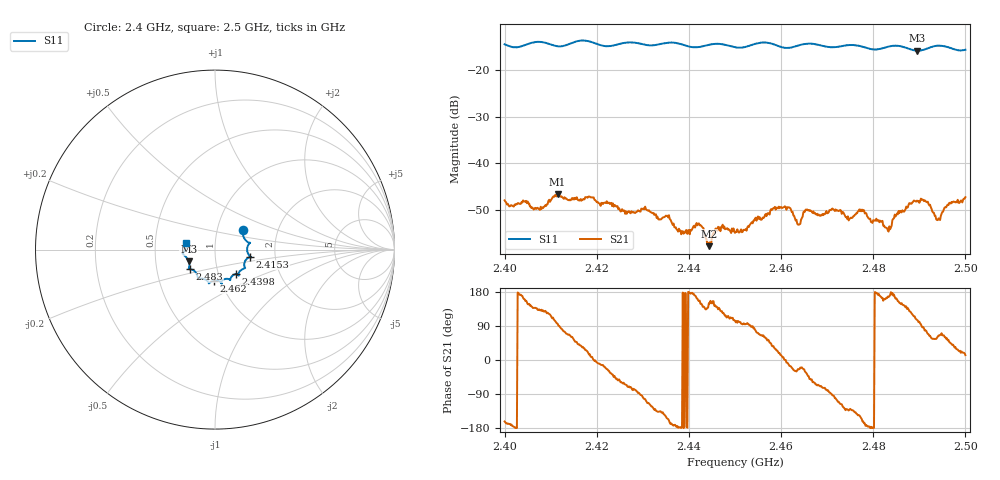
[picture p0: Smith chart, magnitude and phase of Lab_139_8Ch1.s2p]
# Hz S RI R 50
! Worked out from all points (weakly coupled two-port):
!   601 points, 2.4 GHz to 2.5 GHz, reference 50 ohm
!   highest |S21| = -46.66 dB at 2.4115 GHz (marker M1); lowest = -57.7 dB at 2.4443 GHz (marker M2)
!   lowest |S11| = -15.9 dB at 2.4895 GHz (marker M3), VSWR 1.38, Z = 36.9 - j5 ohm
!   |S11| at or under -10 dB: start of sweep to end of sweep
!   S12 and S22 are empty: the file has one direction only
!   S11 on the Smith chart (normalised r, x): 2.4 GHz: 1.33, +0.29; 2.4153 GHz: 1.48, -0.12; 2.4398 GHz: 1.21, -0.34; 2.462 GHz: 0.93, -0.33; 2.483 GHz: 0.74, -0.17; 2.5 GHz: 0.72, +0.06
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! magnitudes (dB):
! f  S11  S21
! 2.4 GHz  -14.5  -47.9
! 2.4078 GHz  -14.0  -49.3
! 2.4115 GHz  -14.9  -46.7
! 2.4153 GHz  -14.0  -47.4
! 2.4167 GHz  -13.7  -48.0
! 2.4333 GHz  -14.5  -51.9
! 2.4398 GHz  -15.0  -54.4
! 2.4425 GHz  -15.1  -53.2
! 2.4443 GHz  -14.6  -57.7
! 2.4462 GHz  -14.4  -54.4
! 2.45 GHz  -15.1  -54.9
! 2.4582 GHz  -14.4  -49.8
! 2.462 GHz  -15.2  -49.6
! 2.4637 GHz  -14.8  -53.1
! 2.4667 GHz  -14.4  -50.3
! 2.4748 GHz  -14.7  -51.9
! 2.4775 GHz  -15.0  -50.3
! 2.483 GHz  -15.1  -53.9
! 2.4833 GHz  -15.0  -54.6
! 2.4895 GHz  -15.9  -48.0
! 2.4942 GHz  -14.8  -51.8
! 2.5 GHz  -15.7  -47.2
